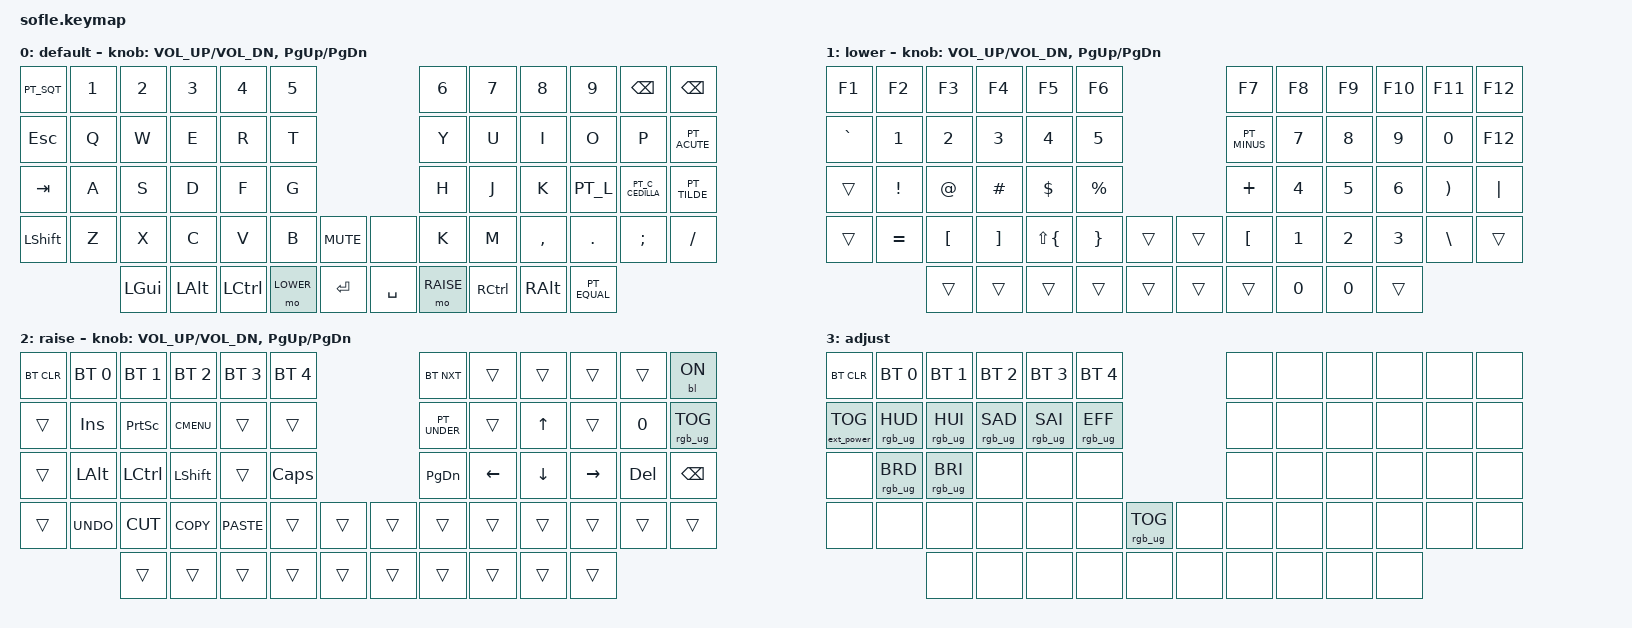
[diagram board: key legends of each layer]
/*
 * Copyright (c) 2020 The ZMK Contributors
 *
 * SPDX-License-Identifier: MIT
 */

#include "keys_pt_abnt2.h"
#include <behaviors.dtsi>
#include <dt-bindings/zmk/backlight.h>
#include <dt-bindings/zmk/bt.h>
#include <dt-bindings/zmk/ext_power.h>
#include <dt-bindings/zmk/keys.h>
#include <dt-bindings/zmk/rgb.h>

#define BASE 0
#define LOWER 1
#define RAISE 2
#define ADJUST 3

/ {
    // Activate ADJUST layer by pressing raise and lower

    conditional_layers {
        compatible = "zmk,conditional-layers";

        adjust_layer {
            if-layers = <LOWER RAISE>;
            then-layer = <ADJUST>;
        };
    };

    keymap {
        compatible = "zmk,keymap";

        default_layer {
            display-name = "default";

            // ------------------------------------------------------------------------------------------------------------
            // |   `   |  1  |  2  |  3   |  4   |  5   |                   |  6   |  7    |  8    |  9   |   0   |       |
            // |  ESC  |  Q  |  W  |  E   |  R   |  T   |                   |  Y   |  U    |  I    |  O   |   P   | BKSPC |
            // |  TAB  |  A  |  S  |  D   |  F   |  G   |                   |  H   |  J    |  K    |  L   |   ;   |   '   |
            // | SHIFT |  Z  |  X  |  C   |  V   |  B   |  MUTE  |  |       |  N   |  M    |  ,    |  .   |   /   | SHIFT |
            //               | GUI | ALT  | CTRL | LOWER|  ENTER |  | SPACE | RAISE| CTRL  | ALT   | GUI  |

            bindings = <
&kp PT_SQT  &kp N1  &kp N2    &kp N3    &kp N4     &kp N5                              &kp N6     &kp N7     &kp N8     &kp N9        &kp BACKSPACE     &kp BACKSPACE
&kp ESC     &kp Q   &kp W     &kp E     &kp R      &kp T                               &kp Y      &kp U      &kp I      &kp O         &kp P             &kp PT_ACUTE
&kp TAB     &kp A   &kp S     &kp D     &kp F      &kp G                               &kp H      &kp J      &kp K      &kp PT_L      &kp PT_C_CEDILLA  &kp PT_TILDE
&kp LSHFT   &kp Z   &kp X     &kp C     &kp V      &kp B      &kp C_MUTE    &none      &kp K      &kp M      &kp COMMA  &kp DOT       &kp SEMI          &kp FSLH
                    &kp LGUI  &kp LALT  &kp LCTRL  &mo LOWER  &kp RET       &kp SPACE  &mo RAISE  &kp RCTRL  &kp RALT   &kp PT_EQUAL
            >;

            sensor-bindings = <&inc_dec_kp C_VOL_UP C_VOL_DN &inc_dec_kp PG_UP PG_DN>;
        };

        lower_layer {
            display-name = "lower";

            // TODO: Some binds are waiting for shifted keycode support.
            // ------------------------------------------------------------------------------------------------------------
            // |       |  F1 |  F2 |  F3  |  F4  |  F5  |                   |  F6  |  F7   |  F8   |  F9  |  F10  |  F11  |
            // |   `   |  1  |  2  |  3   |  4   |  5   |                   |  6   |  7    |  8    |  9   |   0   |  F12  |
            // |       |  !  |  @  |  #   |  $   |  %   |                   |  ^   |  &    |  *    |  (   |   )   |   |   |
            // |       |  =  |  -  |  +   |  {   |  }   |        |  |       |  [   |  ]    |  ;    |  :   |   \   |       |
            //               |     |      |      |      |        |  |       |      |       |       |      |

            bindings = <
&kp F1     &kp F2     &kp F3    &kp F4    &kp F5        &kp F6                       &kp F7        &kp F8  &kp F9  &kp F10  &kp F11   &kp F12
&kp GRAVE  &kp N1     &kp N2    &kp N3    &kp N4        &kp N5                       &kp PT_MINUS  &kp N7  &kp N8  &kp N9   &kp N0    &kp F12
&trans     &kp EXCL   &kp AT    &kp HASH  &kp DLLR      &kp PRCNT                    &kp PLUS      &kp N4  &kp N5  &kp N6   &kp RPAR  &kp PIPE
&trans     &kp EQUAL  &kp LBKT  &kp RBKT  &kp LS(LBRC)  &kp RBRC   &trans    &trans  &kp LBKT      &kp N1  &kp N2  &kp N3   &kp BSLH  &trans
                      &trans    &trans    &trans        &trans     &trans    &trans  &trans        &kp N0  &kp N0  &trans
            >;

            sensor-bindings = <&inc_dec_kp C_VOL_UP C_VOL_DN &inc_dec_kp PG_UP PG_DN>;
        };

        raise_layer {
            display-name = "raise";

            // ------------------------------------------------------------------------------------------------------------
            // | BTCLR | BT1  | BT2  |  BT3  |  BT4  |  BT5 |                |      |      |       |      |       |       |
            // |       | INS  | PSCR | GUI   |       |      |                | PGUP |      |   ^   |      |       |       |
            // |       | ALT  | CTRL | SHIFT |       | CAPS |                | PGDN |   <- |   v   |  ->  |  DEL  | BKSPC |
            // |       | UNDO | CUT  | COPY  | PASTE |      |      |  |      |      |      |       |      |       |       |
            //                |      |       |       |      |      |  |      |      |      |       |      |

            bindings = <
&bt BT_CLR  &bt BT_SEL 0  &bt BT_SEL 1  &bt BT_SEL 2  &bt BT_SEL 3  &bt BT_SEL 4                    &bt BT_NXT    &trans    &trans    &trans     &trans   &bl BL_ON
&trans      &kp INS       &kp PSCRN     &kp K_CMENU   &trans        &trans                          &kp PT_UNDER  &trans    &kp UP    &trans     &kp N0   &rgb_ug RGB_TOG
&trans      &kp LALT      &kp LCTRL     &kp LSHFT     &trans        &kp CLCK                        &kp PG_DN     &kp LEFT  &kp DOWN  &kp RIGHT  &kp DEL  &kp BSPC
&trans      &kp K_UNDO    &kp K_CUT     &kp K_COPY    &kp K_PASTE   &trans        &trans    &trans  &trans        &trans    &trans    &trans     &trans   &trans
                          &trans        &trans        &trans        &trans        &trans    &trans  &trans        &trans    &trans    &trans
            >;

            sensor-bindings = <&inc_dec_kp C_VOL_UP C_VOL_DN &inc_dec_kp PG_UP PG_DN>;
        };

        adjust_layer {
            // ----------------------------------------------------------------------------------------------------------------------------
            // | BTCLR  |  BT1    |  BT2    |   BT3   |   BT4   |   BT5   |                  |      |      |       |      |       |       |
            // | EXTPWR | RGB_HUD | RGB_HUI | RGB_SAD | RGB_SAI | RGB_EFF |                  |      |      |       |      |       |       |
            // |        | RGB_BRD | RGB_BRI |         |         |         |                  |      |      |       |      |       |       |
            // |        |         |         |         |         |         | RGB_TOG | |      |      |      |       |      |       |       |
            //                    |         |         |         |         |         | |      |      |      |       |      |

            display-name = "adjust";
            bindings = <
&bt BT_CLR         &bt BT_SEL 0     &bt BT_SEL 1     &bt BT_SEL 2     &bt BT_SEL 3     &bt BT_SEL 4                               &none  &none  &none  &none  &none  &none
&ext_power EP_TOG  &rgb_ug RGB_HUD  &rgb_ug RGB_HUI  &rgb_ug RGB_SAD  &rgb_ug RGB_SAI  &rgb_ug RGB_EFF                            &none  &none  &none  &none  &none  &none
&none              &rgb_ug RGB_BRD  &rgb_ug RGB_BRI  &none            &none            &none                                      &none  &none  &none  &none  &none  &none
&none              &none            &none            &none            &none            &none            &rgb_ug RGB_TOG    &none  &none  &none  &none  &none  &none  &none
                                    &none            &none            &none            &none            &none              &none  &none  &none  &none  &none
            >;
        };
    };
};
